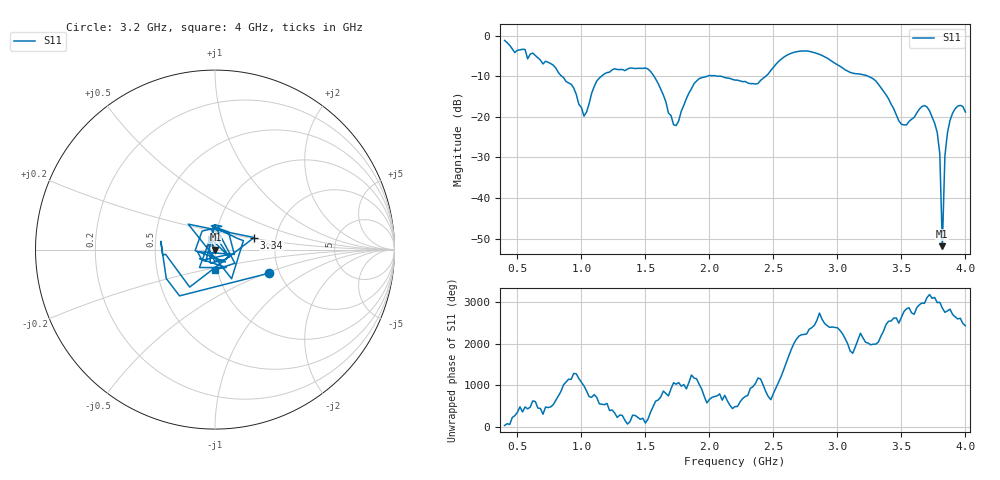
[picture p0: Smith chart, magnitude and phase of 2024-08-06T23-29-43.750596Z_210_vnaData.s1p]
!Created with skrf (http://scikit-rf.org).
# Hz S RI R 50.0
!freq ReS11 ImS11
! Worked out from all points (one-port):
!   181 points, 400 MHz to 4 GHz, reference 50 ohm
!   lowest |S11| = -51.9 dB at 3.82 GHz (marker M1), VSWR 1.01, Z = 50.2 - j0.107 ohm
!   |S11| at or under -10 dB: 1.567 GHz to 1.985 GHz (418.5 MHz wide, 23.6 % of centre); 2.082 GHz to 2.441 GHz (359.1 MHz wide, 15.9 % of centre); 3.239 GHz to end of sweep (the widest 3 of 4)
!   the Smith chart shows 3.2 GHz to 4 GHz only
!   S11 on the Smith chart (normalised r, x): 3.2 GHz: 1.77, -0.52; 3.34 GHz: 1.54, +0.22; 4 GHz: 0.97, -0.23
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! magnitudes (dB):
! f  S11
! 400 MHz  -1.2
! 860 MHz  -10.3
! 940 MHz  -12.9
! 1.02 GHz  -19.8
! 1.12 GHz  -11.2
! 1.3 GHz  -8.4
! 1.52 GHz  -8.2
! 1.6 GHz  -11.8
! 1.72 GHz  -22.0
! 1.76 GHz  -21.0
! 1.92 GHz  -10.6
! 2.2 GHz  -11.0
! 2.38 GHz  -11.8
! 2.66 GHz  -4.1
! 2.86 GHz  -4.6
! 3.1 GHz  -9.1
! 3.2 GHz  -9.6
! 3.34 GHz  -12.8
! 3.5 GHz  -21.8
! 3.56 GHz  -21.1
! 3.68 GHz  -17.2
! 3.78 GHz  -23.9
! 3.8 GHz  -29.1
! 3.82 GHz  -51.9
! 3.84 GHz  -29.6
! 3.86 GHz  -23.9
! 3.92 GHz  -18.0
! 4 GHz  -18.8
